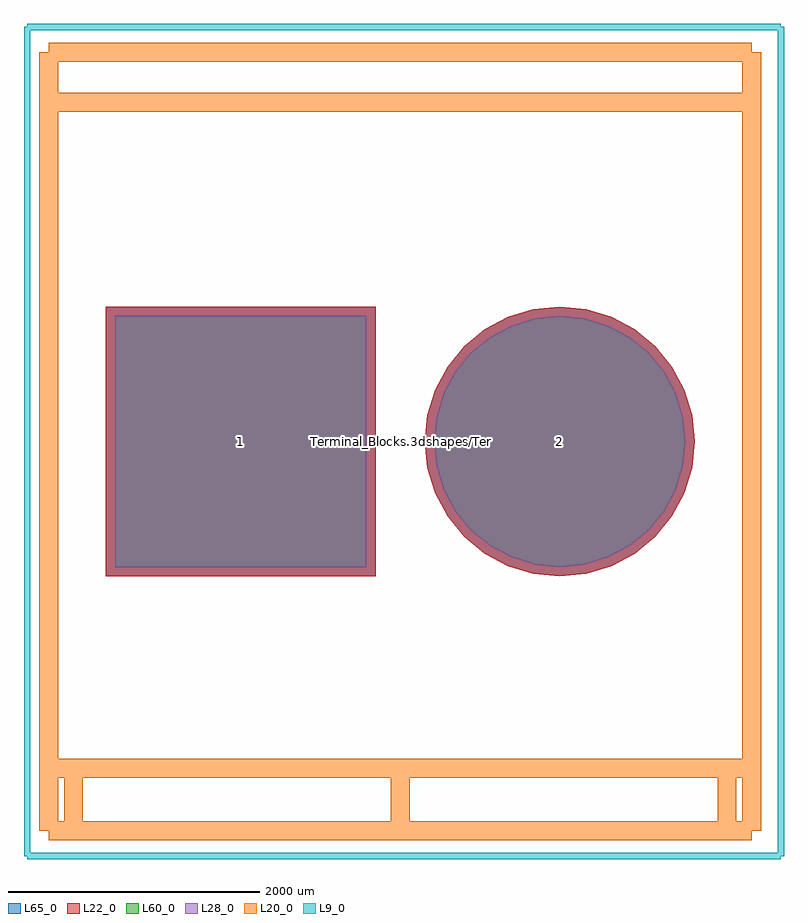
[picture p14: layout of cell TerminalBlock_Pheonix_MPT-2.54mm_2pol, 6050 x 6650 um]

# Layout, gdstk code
import gdstk
lib = gdstk.Library(unit=1e-6, precision=1e-09)
def R(c, l, rs):  # rectangles x0, y0, x1, y1
    for r in rs: c.add(gdstk.rectangle(r[:2], r[2:], *l))
def P(c, l, *ps):  # polygons
    for p in ps: c.add(gdstk.Polygon(p, *l))
L9_0 = (9, 0)
L20_0 = (20, 0)
L22_0 = (22, 0)
L28_0 = (28, 0)
L60_0 = (60, 0)
L65_0 = (65, 0)

terminalblock_pheonix_mp = lib.new_cell('TerminalBlock_Pheonix_MPT-2.54mm_2pol')
R(terminalblock_pheonix_mp, L22_0, [(-1074.49,-1074.49,1074.49,1074.49)])
P(terminalblock_pheonix_mp, L22_0, [(3614.49,0),(3593.844,209.623),(3532.699,411.19),(3433.406,596.955),(3299.779,759.779),(3136.955,893.406),(2951.19,992.699),(2749.623,1053.844),(2540,1074.49),(2330.377,1053.844),(2128.81,992.699),(1943.045,893.406),(1780.221,759.779),(1646.594,596.955),(1547.301,411.19),(1486.156,209.623),(1465.51,0),(1486.156,-209.623),(1547.301,-411.19),(1646.594,-596.955),(1780.221,-759.779),(1943.045,-893.406),(2128.81,-992.699),(2330.377,-1053.844),(2540,-1074.49),(2749.623,-1053.844),(2951.19,-992.699),(3136.955,-893.406),(3299.779,-759.779),(3433.406,-596.955),(3532.699,-411.19),(3593.844,-209.623)])
R(terminalblock_pheonix_mp, L28_0, [(-999.49,-999.49,999.49,999.49)])
P(terminalblock_pheonix_mp, L28_0, [(3539.49,0),(3520.285,194.991),(3463.408,382.488),(3371.046,555.287),(3246.746,706.746),(3095.287,831.046),(2922.488,923.408),(2734.991,980.285),(2540,999.49),(2345.009,980.285),(2157.512,923.408),(1984.713,831.046),(1833.254,706.746),(1708.954,555.287),(1616.592,382.488),(1559.715,194.991),(1540.51,0),(1559.715,-194.991),(1616.592,-382.488),(1708.954,-555.287),(1833.254,-706.746),(1984.713,-831.046),(2157.512,-923.408),(2345.009,-980.285),(2540,-999.49),(2734.991,-980.285),(2922.488,-923.408),(3095.287,-831.046),(3246.746,-706.746),(3371.046,-555.287),(3463.408,-382.488),(3520.285,-194.991)])
R(terminalblock_pheonix_mp, L60_0, [(-999.49,-999.49,999.49,999.49)])
P(terminalblock_pheonix_mp, L60_0, [(3539.49,0),(3520.285,194.991),(3463.408,382.488),(3371.046,555.287),(3246.746,706.746),(3095.287,831.046),(2922.488,923.408),(2734.991,980.285),(2540,999.49),(2345.009,980.285),(2157.512,923.408),(1984.713,831.046),(1833.254,706.746),(1708.954,555.287),(1616.592,382.488),(1559.715,194.991),(1540.51,0),(1559.715,-194.991),(1616.592,-382.488),(1708.954,-555.287),(1833.254,-706.746),(1984.713,-831.046),(2157.512,-923.408),(2345.009,-980.285),(2540,-999.49),(2734.991,-980.285),(2922.488,-923.408),(3095.287,-831.046),(3246.746,-706.746),(3371.046,-555.287),(3463.408,-382.488),(3520.285,-194.991)])
R(terminalblock_pheonix_mp, L65_0, [(-1074.49,-1074.49,1074.49,1074.49)])
P(terminalblock_pheonix_mp, L65_0, [(3614.49,0),(3593.844,209.623),(3532.699,411.19),(3433.406,596.955),(3299.779,759.779),(3136.955,893.406),(2951.19,992.699),(2749.623,1053.844),(2540,1074.49),(2330.377,1053.844),(2128.81,992.699),(1943.045,893.406),(1780.221,759.779),(1646.594,596.955),(1547.301,411.19),(1486.156,209.623),(1465.51,0),(1486.156,-209.623),(1547.301,-411.19),(1646.594,-596.955),(1780.221,-759.779),(1943.045,-893.406),(2128.81,-992.699),(2330.377,-1053.844),(2540,-1074.49),(2749.623,-1053.844),(2951.19,-992.699),(3136.955,-893.406),(3299.779,-759.779),(3433.406,-596.955),(3532.699,-411.19),(3593.844,-209.623)])
terminalblock_pheonix_mp.add(gdstk.FlexPath([(-1529.08,3098.8),(-1529.08,-3098.8)], 149.998, ends="flush", simple_path=True, layer=20, datatype=0))  # L20_0
terminalblock_pheonix_mp.add(gdstk.FlexPath([(4069.08,3098.8),(-1529.08,3098.8)], 149.998, ends="flush", simple_path=True, layer=20, datatype=0))  # L20_0
terminalblock_pheonix_mp.add(gdstk.FlexPath([(4069.08,-3098.8),(4069.08,3098.8)], 149.998, ends="flush", simple_path=True, layer=20, datatype=0))  # L20_0
terminalblock_pheonix_mp.add(gdstk.FlexPath([(-1529.08,-3098.8),(4069.08,-3098.8)], 149.998, ends="flush", simple_path=True, layer=20, datatype=0))  # L20_0
terminalblock_pheonix_mp.add(gdstk.FlexPath([(-1529.08,2700.02),(4069.08,2700.02)], 149.998, ends="flush", simple_path=True, layer=20, datatype=0))  # L20_0
terminalblock_pheonix_mp.add(gdstk.FlexPath([(1270,-3098.8),(1270,-2600.96)], 149.998, ends="flush", simple_path=True, layer=20, datatype=0))  # L20_0
terminalblock_pheonix_mp.add(gdstk.FlexPath([(3870.96,-2600.96),(3870.96,-3098.8)], 149.998, ends="flush", simple_path=True, layer=20, datatype=0))  # L20_0
terminalblock_pheonix_mp.add(gdstk.FlexPath([(-1330.96,-3098.8),(-1330.96,-2600.96)], 149.998, ends="flush", simple_path=True, layer=20, datatype=0))  # L20_0
terminalblock_pheonix_mp.add(gdstk.FlexPath([(4069.08,-2600.96),(-1529.08,-2600.96)], 149.998, ends="flush", simple_path=True, layer=20, datatype=0))  # L20_0
terminalblock_pheonix_mp.add(gdstk.FlexPath([(4300,3300),(4300,-3300)], 50, ends="flush", simple_path=True, layer=9, datatype=0))  # L9_0
terminalblock_pheonix_mp.add(gdstk.FlexPath([(4300,-3300),(-1700,-3300)], 50, ends="flush", simple_path=True, layer=9, datatype=0))  # L9_0
terminalblock_pheonix_mp.add(gdstk.FlexPath([(-1700,-3300),(-1700,3300)], 50, ends="flush", simple_path=True, layer=9, datatype=0))  # L9_0
terminalblock_pheonix_mp.add(gdstk.FlexPath([(-1700,3300),(4300,3300)], 50, ends="flush", simple_path=True, layer=9, datatype=0))  # L9_0
terminalblock_pheonix_mp.add(gdstk.Label('Terminal_Blocks.3dshapes/TerminalBlock_Pheonix_MPT-2.54mm_2pol.wrl', (1270,0), layer=12, texttype=0))
terminalblock_pheonix_mp.add(gdstk.Label('1', (0,0), layer=28, texttype=0))
terminalblock_pheonix_mp.add(gdstk.Label('2', (2540,0), layer=28, texttype=0))
terminalblock_pheonix_mp.add(gdstk.Label('type', (1270,-4500.88), layer=9, texttype=0))
terminalblock_pheonix_mp.add(gdstk.Label('devicename', (1270,4500.88), layer=9, texttype=0))

lib.write_gds('TerminalBlock_Pheonix_MPT-2.54mm_2pol.gds')
